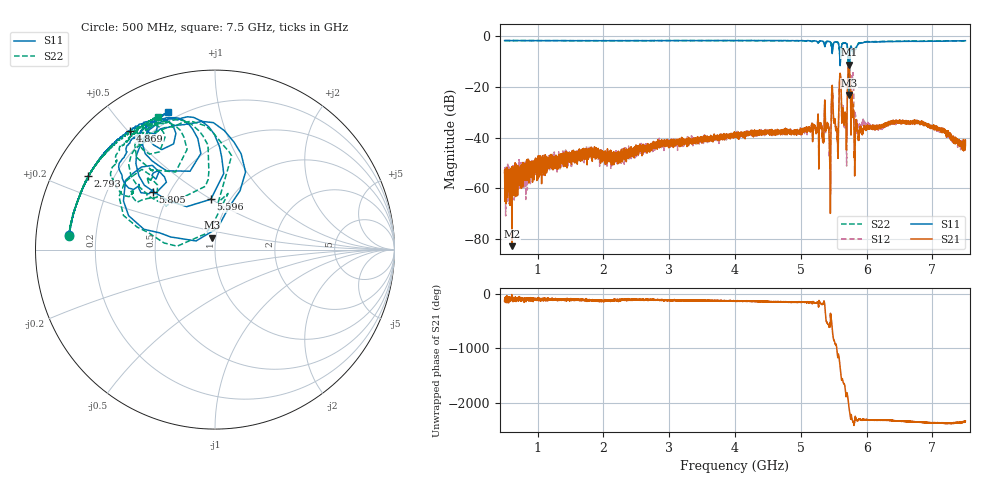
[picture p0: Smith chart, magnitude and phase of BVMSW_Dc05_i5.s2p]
!Keysight Technologies,M9374A,MY55442783,A.12.55.05
!Date: Thursday, May 20, 2021 19:06:05
!Correction: S11(Full 2 Port(1,2))
!S21(Full 2 Port(1,2))
!S12(Full 2 Port(1,2))
!S22(Full 2 Port(1,2))
!S2P File: Measurements: S11, S21, S12, S22:
# Hz S  RI  R 50
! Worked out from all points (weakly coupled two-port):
!   7001 points, 500 MHz to 7.5 GHz, reference 50 ohm
!   highest |S21| = -11.27 dB at 5.73 GHz (marker M1); lowest = -82.7 dB at 609 MHz (marker M2)
!   lowest |S11| = -23.2 dB at 5.734 GHz (marker M3), VSWR 1.15, Z = 47.9 + j6.48 ohm
!   |S11| at or under -10 dB: 5.594875 GHz to 5.601294 GHz (6.418 MHz wide, 0.115 % of centre); 5.722258 GHz to 5.74364 GHz (21.38 MHz wide, 0.373 % of centre)
!   |S22| runs from -21.1 to -1.7 dB; largest |S21 - S12| = 0.28
!   S11 on the Smith chart (normalised r, x): 500 MHz: 0.10, +0.05; 2.793 GHz: 0.11, +0.27; 4.869 GHz: 0.13, +0.51; 5.596 GHz: 0.82, +0.50; 5.805 GHz: 0.41, +0.33; 7.5 GHz: 0.16, +0.70
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5e8  -0.8122 0.0828  -0.00141 -0.00158  -0.00055 -0.00163  -0.8138 0.0736
6.09e8  -0.8087 0.0958  7.03e-05 -2e-05  -0.000855 -0.00128  -0.8126 0.0906
1.667e9  -0.7732 0.2532  -0.00221 -0.00488  -0.00285 -0.00275  -0.7794 0.2369
2.793e9  -0.706 0.4086  -0.00251 -0.00603  -0.00317 -0.00512  -0.7183 0.3842
2.834e9  -0.7014 0.4123  -0.00363 -0.0064  -0.00333 -0.00731  -0.7167 0.3907
4e9  -0.5948 0.5635  -0.00792 -0.00792  -0.00816 -0.00775  -0.615 0.531
4.869e9  -0.4736 0.6628  -0.0116 -0.00613  -0.0117 -0.00455  -0.5085 0.6291
5.167e9  -0.3858 0.6823  -0.0175 -0.00529  -0.0177 -0.00656  -0.4395 0.6452
5.388e9  -0.3732 0.6759  -0.0139 -0.0093  -0.0126 -0.00977  -0.4275 0.6393
5.424e9  -0.2974 0.7268  -0.0109 0.00924  -0.00967 0.00852  -0.3509 0.697
5.493e9  -0.396 0.5472  -0.00606 -0.0294  0.00152 -0.0333  -0.4413 0.5243
5.542e9  -0.2575 0.7273  -0.00785 0.013  -0.00662 0.0125  -0.3114 0.7029
5.596e9  -0.0232 0.2805  -0.0585 0.1755  -0.1319 0.1005  -0.0538 0.3527
5.615e9  -0.4161 0.3961  -0.0253 -0.0642  -0.0248 -0.0627  -0.4563 0.3938
5.669e9  -0.2446 0.6854  -0.0104 0.0232  -0.00798 0.0203  -0.3077 0.6661
5.73e9  0.0248 0.1549  -0.0273 0.272  0.2342 0.1738  -0.147 0.0139
5.734e9  -0.0173 0.0673  0.1217 0.2138  -0.0636 0.2994  0.0137 0.1847
5.805e9  -0.3461 0.3196  -0.0131 0.0178  -0.0742 -0.0175  -0.3897 0.2802
5.871e9  -0.5313 0.4426  -0.0109 -0.00321  -0.0105 -0.0126  -0.5829 0.4199
6.334e9  -0.3994 0.6703  -0.0179 -0.0089  -0.0175 -0.00657  -0.4635 0.6415
6.834e9  -0.3329 0.7135  -0.021 0.0049  -0.019 0.0033  -0.3954 0.6924
7.5e9  -0.2642 0.7678  -0.00691 -0.00106  -0.00638 -0.000179  -0.3192 0.7415
